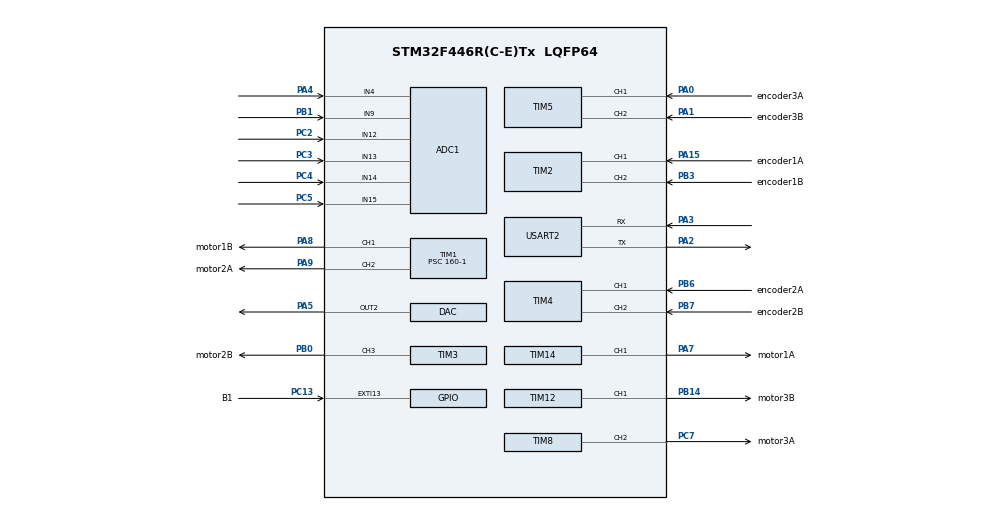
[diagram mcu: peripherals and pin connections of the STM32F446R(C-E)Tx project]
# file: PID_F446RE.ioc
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ADC1.Channel-0\#ChannelRegularConversion=ADC_CHANNEL_15
ADC1.Channel-1\#ChannelRegularConversion=ADC_CHANNEL_9
ADC1.Channel-2\#ChannelRegularConversion=ADC_CHANNEL_14
ADC1.Channel-3\#ChannelRegularConversion=ADC_CHANNEL_4
ADC1.Channel-4\#ChannelRegularConversion=ADC_CHANNEL_13
ADC1.Channel-5\#ChannelRegularConversion=ADC_CHANNEL_12
ADC1.ContinuousConvMode=DISABLE
ADC1.DiscontinuousConvMode=ENABLE
ADC1.NbrOfConversion=6
ADC1.NbrOfConversionFlag=1
ADC1.NbrOfDiscConversion=1
ADC1.Rank-0\#ChannelRegularConversion=1
ADC1.Rank-1\#ChannelRegularConversion=2
ADC1.Rank-2\#ChannelRegularConversion=3
ADC1.Rank-3\#ChannelRegularConversion=4
ADC1.Rank-4\#ChannelRegularConversion=5
ADC1.Rank-5\#ChannelRegularConversion=6
ADC1.SamplingTime-0\#ChannelRegularConversion=ADC_SAMPLETIME_3CYCLES
ADC1.SamplingTime-1\#ChannelRegularConversion=ADC_SAMPLETIME_3CYCLES
ADC1.SamplingTime-2\#ChannelRegularConversion=ADC_SAMPLETIME_3CYCLES
ADC1.SamplingTime-3\#ChannelRegularConversion=ADC_SAMPLETIME_3CYCLES
ADC1.SamplingTime-4\#ChannelRegularConversion=ADC_SAMPLETIME_3CYCLES
ADC1.SamplingTime-5\#ChannelRegularConversion=ADC_SAMPLETIME_3CYCLES
ADC1.ScanConvMode=ENABLE
ADC1.master=1
DAC.DAC_OutputBuffer2=DAC_OUTPUTBUFFER_DISABLE
Dma.Request0=USART2_RX
Dma.Request1=USART2_TX
Dma.USART2_RX.0.Direction=DMA_PERIPH_TO_MEMORY
Dma.USART2_RX.0.FIFOMode=DMA_FIFOMODE_DISABLE
Dma.USART2_RX.0.Instance=DMA1_Stream5
Dma.USART2_RX.0.MemDataAlignment=DMA_MDATAALIGN_BYTE
Dma.USART2_RX.0.MemInc=DMA_MINC_ENABLE
Dma.USART2_RX.0.Mode=DMA_NORMAL
Dma.USART2_RX.0.PeriphDataAlignment=DMA_PDATAALIGN_BYTE
Dma.USART2_RX.0.PeriphInc=DMA_PINC_DISABLE
Dma.USART2_RX.0.Priority=DMA_PRIORITY_LOW
Dma.USART2_TX.1.Direction=DMA_MEMORY_TO_PERIPH
Dma.USART2_TX.1.FIFOMode=DMA_FIFOMODE_DISABLE
Dma.USART2_TX.1.Instance=DMA1_Stream6
Dma.USART2_TX.1.MemDataAlignment=DMA_MDATAALIGN_BYTE
Dma.USART2_TX.1.MemInc=DMA_MINC_ENABLE
Dma.USART2_TX.1.Mode=DMA_NORMAL
Dma.USART2_TX.1.PeriphDataAlignment=DMA_PDATAALIGN_BYTE
Dma.USART2_TX.1.PeriphInc=DMA_PINC_DISABLE
Dma.USART2_TX.1.Priority=DMA_PRIORITY_LOW
Mcu.Family=STM32F4
Mcu.Name=STM32F446R(C-E)Tx
Mcu.Package=LQFP64
NVIC.DMA1_Stream5_IRQn=true\:0\:0\:false\:false\:true\:false\:true\:true
NVIC.DMA1_Stream6_IRQn=true\:0\:0\:false\:false\:true\:false\:true\:true
NVIC.EXTI15_10_IRQn=true\:0\:0\:false\:false\:true\:true\:true\:true
NVIC.PriorityGroup=NVIC_PRIORITYGROUP_4
NVIC.TIM2_IRQn=true\:1\:0\:true\:false\:true\:true\:true\:true
NVIC.TIM4_IRQn=true\:1\:0\:true\:false\:true\:true\:true\:true
NVIC.TIM5_IRQn=true\:1\:0\:true\:false\:true\:true\:true\:true
NVIC.TIM6_DAC_IRQn=true\:3\:0\:true\:false\:true\:true\:true\:true
NVIC.USART2_IRQn=true\:2\:0\:true\:false\:true\:true\:true\:true
PA0-WKUP.GPIO_Label=encoder3A
PA0-WKUP.Signal=S_TIM5_CH1
PA1.GPIO_Label=encoder3B
PA1.Signal=S_TIM5_CH2
PA15.GPIO_Label=encoder1A
PA15.Signal=S_TIM2_CH1_ETR
PA2.Mode=Asynchronous
PA2.Signal=USART2_TX
PA3.Mode=Asynchronous
PA3.Signal=USART2_RX
PA4.Signal=ADCx_IN4
PA5.Signal=COMP_DAC2_group
PA7.GPIO_Label=motor1A
PA7.Signal=S_TIM14_CH1
PA8.GPIO_Label=motor1B
PA8.Signal=S_TIM1_CH1
PA9.GPIO_Label=motor2A
PA9.Signal=S_TIM1_CH2
PB0.GPIO_Label=motor2B
PB0.Signal=S_TIM3_CH3
PB1.Signal=ADCx_IN9
PB14.GPIO_Label=motor3B
PB14.Signal=S_TIM12_CH1
PB3.GPIO_Label=encoder1B
PB3.Signal=S_TIM2_CH2
PB6.GPIO_Label=encoder2A
PB6.Signal=S_TIM4_CH1
PB7.GPIO_Label=encoder2B
PB7.Signal=S_TIM4_CH2
PC13.GPIO_Label=B1
PC13.Signal=GPXTI13
PC2.Signal=ADCx_IN12
PC3.Signal=ADCx_IN13
PC4.Signal=ADCx_IN14
PC5.Signal=ADCx_IN15
PC7.GPIO_Label=motor3A
PC7.Signal=S_TIM8_CH2
ProjectManager.HeapSize=0x200
ProjectManager.StackSize=0x400
ProjectManager.TargetToolchain=STM32CubeIDE
RCC.CortexFreq_Value=16000000
RCC.USBFreq_Value=96000000
RCC.VCOOutputFreq_Value=192000000
SH.ADCx_IN12.0=ADC1_IN12,IN12
SH.ADCx_IN13.0=ADC1_IN13,IN13
SH.ADCx_IN14.0=ADC1_IN14,IN14
SH.ADCx_IN15.0=ADC1_IN15,IN15
SH.ADCx_IN4.0=ADC1_IN4,IN4
SH.ADCx_IN9.0=ADC1_IN9,IN9
SH.COMP_DAC2_group.0=DAC_OUT2,DAC_OUT2
SH.S_TIM12_CH1.0=TIM12_CH1,PWM Generation1 CH1
SH.S_TIM14_CH1.0=TIM14_CH1,PWM Generation1 CH1
SH.S_TIM1_CH1.0=TIM1_CH1,PWM Generation1 CH1
SH.S_TIM1_CH2.0=TIM1_CH2,PWM Generation2 CH2
SH.S_TIM2_CH1_ETR.0=TIM2_CH1,Encoder_Interface
SH.S_TIM2_CH2.0=TIM2_CH2,Encoder_Interface
SH.S_TIM3_CH3.0=TIM3_CH3,PWM Generation3 CH3
SH.S_TIM4_CH1.0=TIM4_CH1,Encoder_Interface
SH.S_TIM4_CH2.0=TIM4_CH2,Encoder_Interface
SH.S_TIM5_CH1.0=TIM5_CH1,Encoder_Interface
SH.S_TIM5_CH2.0=TIM5_CH2,Encoder_Interface
SH.S_TIM8_CH2.0=TIM8_CH2,PWM Generation2 CH2
TIM1.AutoReloadPreload=TIM_AUTORELOAD_PRELOAD_ENABLE
TIM1.Channel-PWM\ Generation1\ CH1=TIM_CHANNEL_1
TIM1.Channel-PWM\ Generation2\ CH2=TIM_CHANNEL_2
TIM1.Period=1000-1
TIM1.Prescaler=160-1
TIM12.AutoReloadPreload=TIM_AUTORELOAD_PRELOAD_ENABLE
TIM12.Channel-PWM\ Generation1\ CH1=TIM_CHANNEL_1
TIM12.Period=1000-1
TIM12.Prescaler=16-1
TIM14.AutoReloadPreload=TIM_AUTORELOAD_PRELOAD_ENABLE
TIM14.Channel=TIM_CHANNEL_1
TIM14.Period=1000-1
TIM14.Prescaler=16-1
TIM2.AutoReloadPreload=TIM_AUTORELOAD_PRELOAD_ENABLE
TIM2.EncoderMode=TIM_ENCODERMODE_TI12
TIM3.AutoReloadPreload=TIM_AUTORELOAD_PRELOAD_ENABLE
TIM3.Channel-PWM\ Generation3\ CH3=TIM_CHANNEL_3
TIM3.Period=1000-1
TIM3.Prescaler=16-1
TIM4.AutoReloadPreload=TIM_AUTORELOAD_PRELOAD_ENABLE
TIM4.EncoderMode=TIM_ENCODERMODE_TI12
TIM5.AutoReloadPreload=TIM_AUTORELOAD_PRELOAD_ENABLE
TIM5.EncoderMode=TIM_ENCODERMODE_TI12
TIM6.Period=1000-1
TIM6.Prescaler=160-1
TIM8.AutoReloadPreload=TIM_AUTORELOAD_PRELOAD_ENABLE
TIM8.Channel-PWM\ Generation2\ CH2=TIM_CHANNEL_2
TIM8.Period=1000-1
TIM8.Prescaler=16-1
USART2.VirtualMode=VM_ASYNC
VP_TIM14_VS_ClockSourceINT.Mode=Enable_Timer
VP_TIM6_VS_ClockSourceINT.Mode=Enable_Timer
board=custom

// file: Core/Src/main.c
/* USER CODE BEGIN Header */
/**
  ******************************************************************************
  * @file           : main.c
  * @brief          : Main program body
  ******************************************************************************
  * @attention
  *
  * Copyright (c) 2023 STMicroelectronics.
  * All rights reserved.
  *
  * This software is licensed under terms that can be found in the LICENSE file
  * in the root directory of this software component.
  * If no LICENSE file comes with this software, it is provided AS-IS.
  *
  ******************************************************************************
  */
/* USER CODE END Header */
#include "main.h"

/* USER CODE BEGIN Includes */
#include "string.h"
#include "stdio.h"
#include "stdlib.h"
/* USER CODE END Includes */

/* USER CODE BEGIN PTD */
typedef struct _MOTOR
{
	uint32_t Target;	// from FSR input
	short Speed;	// calculated from encoder
	uint16_t direc;
}MOTOR;
/* USER CODE END PTD */

/* USER CODE BEGIN PD */
/*PID*/
#define kp 0.86
#define ki 0.012
#define kd 0.005

#define RESET 0
#define CW_A 1
#define CCW_B 2

#define motor1A TIM1 -> CCR1
#define motor1B TIM14 -> CCR1
#define encoderM1 TIM2 -> CNT

#define motor2A TIM1 -> CCR2
#define motor2B TIM3 -> CCR3
#define encoderM2 TIM4 -> CNT

#define motor3A TIM8 -> CCR2
#define motor3B TIM12 -> CCR1
#define encoderM3 TIM5 -> CNT

/* USER CODE END PD */

ADC_HandleTypeDef hadc1;

DAC_HandleTypeDef hdac;

TIM_HandleTypeDef htim1;
TIM_HandleTypeDef htim2;
TIM_HandleTypeDef htim3;
TIM_HandleTypeDef htim4;
TIM_HandleTypeDef htim5;
TIM_HandleTypeDef htim6;
TIM_HandleTypeDef htim8;
TIM_HandleTypeDef htim12;
TIM_HandleTypeDef htim14;

UART_HandleTypeDef huart2;
DMA_HandleTypeDef hdma_usart2_rx;
DMA_HandleTypeDef hdma_usart2_tx;

void SystemClock_Config(void);
static void MX_GPIO_Init(void);
static void MX_DMA_Init(void);
static void MX_TIM6_Init(void);
static void MX_TIM14_Init(void);
static void MX_TIM2_Init(void);
static void MX_USART2_UART_Init(void);
static void MX_ADC1_Init(void);
static void MX_TIM1_Init(void);
static void MX_TIM3_Init(void);
static void MX_TIM4_Init(void);
static void MX_TIM5_Init(void);
static void MX_TIM8_Init(void);
static void MX_TIM12_Init(void);
static void MX_DAC_Init(void);

/* USER CODE BEGIN 0 */

// global signal
uint16_t FSRThreshold = 200;
uint16_t curMotorNum = 0;
uint16_t encoderRead_flag = 0;

// motor data
MOTOR motor[4];
uint16_t PID_FLAG = 0;

// ADC usage
uint16_t FSRValue[6];

void initMotor(void){
	// motor 1
	for(int i = 1;i <= 3; i++){
		motor[i].Speed = 0;
		motor[i].Target = 0;
		motor[i].direc = 0;
	}

	motor1A = 0;
	motor1B = 0;
	motor2A = 0;
	motor2B = 0;
	motor3A = 0;
	motor3B = 0;

	HAL_TIM_Encoder_Start(&htim2,TIM_CHANNEL_1 | TIM_CHANNEL_2);	// start encoderM1(timer2)
	HAL_TIM_PWM_Start(&htim1,TIM_CHANNEL_1);	// start motor1A
	HAL_TIM_PWM_Start(&htim14,TIM_CHANNEL_1);	// start motor1B
	HAL_TIM_Encoder_Start(&htim4,TIM_CHANNEL_1 | TIM_CHANNEL_2);	// start encoderM2(timer4)
	HAL_TIM_PWM_Start(&htim1,TIM_CHANNEL_2);	// start motor2A
	HAL_TIM_PWM_Start(&htim3,TIM_CHANNEL_3);	// start motor2B
	HAL_TIM_Encoder_Start(&htim5,TIM_CHANNEL_1 | TIM_CHANNEL_2);	// start encoderM3(timer5)
	HAL_TIM_PWM_Start(&htim8,TIM_CHANNEL_2);	// start motor3A
	HAL_TIM_PWM_Start(&htim12,TIM_CHANNEL_1);	// start motor3B
}

void errorOccur(uint16_t type,uint16_t motorNum){
	char uart_buf[100];
	int uart_buf_len;
	switch(type){
	case 1:
		uart_buf_len = sprintf(uart_buf, "Can't read motor %d encoder value\r\n",motorNum);
		HAL_UART_Transmit(&huart2, (uint8_t *)uart_buf, uart_buf_len, 100);
		break;
	case 2:
		uart_buf_len = sprintf(uart_buf, "Can't config motor %d Speed\r\n",motorNum);
		HAL_UART_Transmit(&huart2, (uint8_t *)uart_buf, uart_buf_len, 100);
		break;
	}
}

// table for converting Speed by controller,to PWM pulse value
uint32_t speed2pulse(uint32_t rpm_value){
	uint32_t pulse_value = 1.7 * rpm_value + 27;
	return pulse_value;
}

// table for converting ADC voltage read from FSR,to speed(rpm)
uint32_t voltage2speed(uint32_t FSRvoltage){
	uint32_t Target_Speed = FSRvoltage/50 + 200;	// input speed = 0.1*FSR_value + 100
	return Target_Speed;
}

// get motor real speed (named as encoder value)
short getSpeed(uint16_t motor_num){
	short fspeed = 0;
	switch(motor_num){
	case 1:
		fspeed = (short)(encoderM1)*100/(16*4); // v = (Num/(CPR*F))/t
		encoderM1 = 0;
		return fspeed*10;
		break;
	case 2:
		fspeed = (short)(encoderM2)*100/(16*4); // v = (Num/(CPR*F))/t
		encoderM2 = 0;
		return fspeed*10;
		break;
	case 3:
		fspeed = (short)(encoderM3)*100/(16*4); // v = (Num/(CPR*F))/t
		encoderM3 = 0;
		return fspeed*10;
		break;
	case 0:
		break;
	default:
		errorOccur(1,motor_num);
		break;
	}
	return 0;
}

// ADC Conversion processing
void readFSRVoltage(void){
	for(int FSRNum = 0; FSRNum < 6; FSRNum ++){
       HAL_ADC_Start(&hadc1);
       HAL_ADC_PollForConversion(&hadc1,100);
       if(HAL_IS_BIT_SET(HAL_ADC_GetState(&hadc1),HAL_ADC_STATE_REG_EOC)){
    	   FSRValue[FSRNum] = (uint16_t)HAL_ADC_GetValue(&hadc1);
       }
	}
}

void setSpeed_M1(uint16_t ctrl) {
    switch (ctrl) {
        case RESET:
            motor1A = 0;
            motor1B = 0;
            break;

        case CW_A:
            motor1A = motor[1].Speed;
            break;

        case CCW_B:
            motor1B = motor[1].Speed;
            break;

        default:
            errorOccur(2, 1);
            break;
    }
}

void setSpeed_M2(uint16_t ctrl) {
    switch (ctrl) {
        case RESET:
            motor2A = 0;
            motor2B = 0;
            break;

        case CW_A:
            motor2A = motor[2].Speed;
            break;

        case CCW_B:
            motor2B = motor[2].Speed;
            break;

        default:
            errorOccur(2, 2);
            break;
    }
}

void setSpeed_M3(uint16_t ctrl) {
    switch (ctrl) {
        case RESET:
            motor3A = 0;
            motor3B = 0;
            break;

        case CW_A:
            motor3A = motor[3].Speed;
            break;

        case CCW_B:
            motor3B = motor[3].Speed;
            break;

        default:
            errorOccur(2, 3);
            break;
    }
}

void setSpeed(uint16_t motorNum,uint16_t ctrl){
	if(motorNum == 1) setSpeed_M1(ctrl);
	else if(motorNum == 2) setSpeed_M2(ctrl);
	else if(motorNum == 3) setSpeed_M3(ctrl);
}

void Dac2_Set_Vol(uint16_t vol)
{
	HAL_DAC_SetValue(&hdac, DAC_CHANNEL_2, DAC_ALIGN_12B_R, vol);
	HAL_DAC_Start(&hdac, DAC_CHANNEL_2);
}

short PID_Cal(short Speed,short *error)
{
	short Error = motor[curMotorNum].Target - Speed;
	static short Error_last = 0,Error_prev = 0;
	short pwm_add = 0;
	*error = Error;
//	pwm_add = kp*(Error - Error_last);
	pwm_add = kp*(Error - Error_last) + ki*Error + kd*(Error-2.0f*Error_last+Error_prev);

	Error_prev = Error_last;
	Error_last = Error;

	return pwm_add;
}
/* USER CODE END 0 */

int main(void)
{
  /* USER CODE BEGIN 1 */
	char uart_buf[100];
	int uart_buf_len;
	uint16_t idx = 0;
	uint16_t d = 0;

  /* USER CODE END 1 */

  /* MCU Configuration--------------------------------------------------------*/

  /* Reset of all peripherals, Initializes the Flash interface and the Systick. */
  HAL_Init();

  /* Configure the system clock */
  SystemClock_Config();

  /* Initialize all configured peripherals */
  MX_GPIO_Init();
  MX_DMA_Init();
  MX_TIM6_Init();
  MX_TIM14_Init();
  MX_TIM2_Init();
  MX_USART2_UART_Init();
  MX_ADC1_Init();
  MX_TIM1_Init();
  MX_TIM3_Init();
  MX_TIM4_Init();
  MX_TIM5_Init();
  MX_TIM8_Init();
  MX_TIM12_Init();
  MX_DAC_Init();
  /* USER CODE BEGIN 2 */
  uart_buf_len = sprintf(uart_buf, "Configuring...\r\n");
  HAL_UART_Transmit(&huart2, (uint8_t *)uart_buf, uart_buf_len, 100);
  initMotor();
  // Start timer
  HAL_TIM_Base_Start_IT(&htim6);
  uart_buf_len = sprintf(uart_buf, "Test Start!\r\n");
  HAL_UART_Transmit(&huart2, (uint8_t *)uart_buf, uart_buf_len, 100);

  /* USER CODE END 2 */

  /* Infinite loop */
  /* USER CODE BEGIN WHILE */
  while (1)
  {

	  if(encoderRead_flag){
		  uart_buf_len = sprintf(uart_buf, "Target Speed from FSR %lu, direct %d \r\n",motor[curMotorNum].Target,motor[curMotorNum].direc);
		  HAL_UART_Transmit(&huart2, (uint8_t *)uart_buf, uart_buf_len, 100);
		  uart_buf_len = sprintf(uart_buf, "actual Speed = %d\r\n",motor[curMotorNum].Speed);
		  HAL_UART_Transmit(&huart2, (uint8_t *)uart_buf, uart_buf_len, 100);
		  encoderRead_flag = 0;
	  }
	  readFSRVoltage();

	  if(curMotorNum == 0)	// Stationary state
	  {
		  for(int i = 0; i < 6; i++){
			  if(FSRValue[i] >= FSRThreshold){
				  idx = i;
				  d = (i%2)? 1 : 2;	// mod=1(1,3,5) for CW(direc code is 1); mod=0(0,2,4) for CCW(direc code is 2)
				  curMotorNum = (idx + 2) / 2; // 0&1 for motor1, 2&3 for motor2, 4&5 for motor3
				  setSpeed(curMotorNum,RESET);
				  motor[curMotorNum].direc = d;
				  break;
			  }
		  }
	  }
	  if(curMotorNum != 0) // motor{curMotorNum} functioning
	  {
		  if(FSRValue[idx] >= FSRThreshold){
			  motor[curMotorNum].Target = voltage2speed(FSRValue[idx]);
			  uart_buf_len = sprintf(uart_buf, "FSR voltage = %d change to speed = %d\r\n",FSRValue[idx],motor[curMotorNum].Target);
			  HAL_UART_Transmit(&huart2, (uint8_t *)uart_buf, uart_buf_len, 100);
		  }else{	// stop functioning
			  motor[curMotorNum].Target = 0;
			  motor[curMotorNum].direc = 0;
			  setSpeed(curMotorNum,RESET);
			  curMotorNum = 0;
		  }

	  }
	  for(int FSRNum = 0; FSRNum < 6; FSRNum ++){
		  uart_buf_len = sprintf(uart_buf, "idx[%d] value[%d]\r\n",FSRNum,FSRValue[FSRNum]);
		  HAL_UART_Transmit(&huart2, (uint8_t *)uart_buf, uart_buf_len, 100);
	  }
	  uart_buf_len = sprintf(uart_buf, "CURRENT MOTOR IS [%d]\r\n",curMotorNum);
	  HAL_UART_Transmit(&huart2, (uint8_t *)uart_buf, uart_buf_len, 100);
	  HAL_Delay(1000);

    /* USER CODE END WHILE */

  }
}

void SystemClock_Config(void)
{
  RCC_OscInitTypeDef RCC_OscInitStruct = {0};
  RCC_ClkInitTypeDef RCC_ClkInitStruct = {0};

  /** Configure the main internal regulator output voltage
  */
  __HAL_RCC_PWR_CLK_ENABLE();
  __HAL_PWR_VOLTAGESCALING_CONFIG(PWR_REGULATOR_VOLTAGE_SCALE3);

  /** Initializes the RCC Oscillators according to the specified parameters
  * in the RCC_OscInitTypeDef structure.
  */
  RCC_OscInitStruct.OscillatorType = RCC_OSCILLATORTYPE_HSI;
  RCC_OscInitStruct.HSIState = RCC_HSI_ON;
  RCC_OscInitStruct.HSICalibrationValue = RCC_HSICALIBRATION_DEFAULT;
  RCC_OscInitStruct.PLL.PLLState = RCC_PLL_NONE;
  if (HAL_RCC_OscConfig(&RCC_OscInitStruct) != HAL_OK)
  {
    Error_Handler();
  }

  /** Initializes the CPU, AHB and APB buses clocks
  */
  RCC_ClkInitStruct.ClockType = RCC_CLOCKTYPE_HCLK|RCC_CLOCKTYPE_SYSCLK
                              |RCC_CLOCKTYPE_PCLK1|RCC_CLOCKTYPE_PCLK2;
  RCC_ClkInitStruct.SYSCLKSource = RCC_SYSCLKSOURCE_HSI;
  RCC_ClkInitStruct.AHBCLKDivider = RCC_SYSCLK_DIV1;
  RCC_ClkInitStruct.APB1CLKDivider = RCC_HCLK_DIV1;
  RCC_ClkInitStruct.APB2CLKDivider = RCC_HCLK_DIV1;

  if (HAL_RCC_ClockConfig(&RCC_ClkInitStruct, FLASH_LATENCY_0) != HAL_OK)
  {
    Error_Handler();
  }
}

static void MX_ADC1_Init(void)
{

  ADC_ChannelConfTypeDef sConfig = {0};

  /** Configure the global features of the ADC (Clock, Resolution, Data Alignment and number of conversion)
  */
  hadc1.Instance = ADC1;
  hadc1.Init.ClockPrescaler = ADC_CLOCK_SYNC_PCLK_DIV2;
  hadc1.Init.Resolution = ADC_RESOLUTION_12B;
  hadc1.Init.ScanConvMode = ENABLE;
  hadc1.Init.ContinuousConvMode = DISABLE;
  hadc1.Init.DiscontinuousConvMode = ENABLE;
  hadc1.Init.NbrOfDiscConversion = 1;
  hadc1.Init.ExternalTrigConvEdge = ADC_EXTERNALTRIGCONVEDGE_NONE;
  hadc1.Init.ExternalTrigConv = ADC_SOFTWARE_START;
  hadc1.Init.DataAlign = ADC_DATAALIGN_RIGHT;
  hadc1.Init.NbrOfConversion = 6;
  hadc1.Init.DMAContinuousRequests = DISABLE;
  hadc1.Init.EOCSelection = ADC_EOC_SINGLE_CONV;
  if (HAL_ADC_Init(&hadc1) != HAL_OK)
  {
    Error_Handler();
  }

  /** Configure for the selected ADC regular channel its corresponding rank in the sequencer and its sample time.
  */
  sConfig.Channel = ADC_CHANNEL_15;
  sConfig.Rank = 1;
  sConfig.SamplingTime = ADC_SAMPLETIME_3CYCLES;
  if (HAL_ADC_ConfigChannel(&hadc1, &sConfig) != HAL_OK)
  {
    Error_Handler();
  }

  /** Configure for the selected ADC regular channel its corresponding rank in the sequencer and its sample time.
  */
  sConfig.Channel = ADC_CHANNEL_9;
  sConfig.Rank = 2;
  if (HAL_ADC_ConfigChannel(&hadc1, &sConfig) != HAL_OK)
  {
    Error_Handler();
  }

  /** Configure for the selected ADC regular channel its corresponding rank in the sequencer and its sample time.
  */
  sConfig.Channel = ADC_CHANNEL_14;
  sConfig.Rank = 3;
  if (HAL_ADC_ConfigChannel(&hadc1, &sConfig) != HAL_OK)
  {
    Error_Handler();
  }

  /** Configure for the selected ADC regular channel its corresponding rank in the sequencer and its sample time.
  */
  sConfig.Channel = ADC_CHANNEL_4;
  sConfig.Rank = 4;
  if (HAL_ADC_ConfigChannel(&hadc1, &sConfig) != HAL_OK)
  {
    Error_Handler();
  }

  /** Configure for the selected ADC regular channel its corresponding rank in the sequencer and its sample time.
  */
  sConfig.Channel = ADC_CHANNEL_13;
  sConfig.Rank = 5;
  if (HAL_ADC_ConfigChannel(&hadc1, &sConfig) != HAL_OK)
  {
    Error_Handler();
  }

  /** Configure for the selected ADC regular channel its corresponding rank in the sequencer and its sample time.
  */
  sConfig.Channel = ADC_CHANNEL_12;
  sConfig.Rank = 6;
  if (HAL_ADC_ConfigChannel(&hadc1, &sConfig) != HAL_OK)
  {
    Error_Handler();
  }

}

static void MX_DAC_Init(void)
{

  DAC_ChannelConfTypeDef sConfig = {0};

  /** DAC Initialization
  */
  hdac.Instance = DAC;
  if (HAL_DAC_Init(&hdac) != HAL_OK)
  {
    Error_Handler();
  }

  /** DAC channel OUT2 config
  */
  sConfig.DAC_Trigger = DAC_TRIGGER_NONE;
  sConfig.DAC_OutputBuffer = DAC_OUTPUTBUFFER_DISABLE;
  if (HAL_DAC_ConfigChannel(&hdac, &sConfig, DAC_CHANNEL_2) != HAL_OK)
  {
    Error_Handler();
  }

}

static void MX_TIM1_Init(void)
{

  TIM_MasterConfigTypeDef sMasterConfig = {0};
  TIM_OC_InitTypeDef sConfigOC = {0};
  TIM_BreakDeadTimeConfigTypeDef sBreakDeadTimeConfig = {0};

  htim1.Instance = TIM1;
  htim1.Init.Prescaler = 160-1;
  htim1.Init.CounterMode = TIM_COUNTERMODE_UP;
  htim1.Init.Period = 1000-1;
  htim1.Init.ClockDivision = TIM_CLOCKDIVISION_DIV1;
  htim1.Init.RepetitionCounter = 0;
  htim1.Init.AutoReloadPreload = TIM_AUTORELOAD_PRELOAD_ENABLE;
  if (HAL_TIM_PWM_Init(&htim1) != HAL_OK)
  {
    Error_Handler();
  }
  sMasterConfig.MasterOutputTrigger = TIM_TRGO_RESET;
  sMasterConfig.MasterSlaveMode = TIM_MASTERSLAVEMODE_DISABLE;
  if (HAL_TIMEx_MasterConfigSynchronization(&htim1, &sMasterConfig) != HAL_OK)
  {
    Error_Handler();
  }
  sConfigOC.OCMode = TIM_OCMODE_PWM1;
  sConfigOC.Pulse = 0;
  sConfigOC.OCPolarity = TIM_OCPOLARITY_HIGH;
  sConfigOC.OCNPolarity = TIM_OCNPOLARITY_HIGH;
  sConfigOC.OCFastMode = TIM_OCFAST_DISABLE;
  sConfigOC.OCIdleState = TIM_OCIDLESTATE_RESET;
  sConfigOC.OCNIdleState = TIM_OCNIDLESTATE_RESET;
  if (HAL_TIM_PWM_ConfigChannel(&htim1, &sConfigOC, TIM_CHANNEL_1) != HAL_OK)
  {
    Error_Handler();
  }
  if (HAL_TIM_PWM_ConfigChannel(&htim1, &sConfigOC, TIM_CHANNEL_2) != HAL_OK)
  {
    Error_Handler();
  }
  sBreakDeadTimeConfig.OffStateRunMode = TIM_OSSR_DISABLE;
  sBreakDeadTimeConfig.OffStateIDLEMode = TIM_OSSI_DISABLE;
  sBreakDeadTimeConfig.LockLevel = TIM_LOCKLEVEL_OFF;
  sBreakDeadTimeConfig.DeadTime = 0;
  sBreakDeadTimeConfig.BreakState = TIM_BREAK_DISABLE;
  sBreakDeadTimeConfig.BreakPolarity = TIM_BREAKPOLARITY_HIGH;
  sBreakDeadTimeConfig.AutomaticOutput = TIM_AUTOMATICOUTPUT_DISABLE;
  if (HAL_TIMEx_ConfigBreakDeadTime(&htim1, &sBreakDeadTimeConfig) != HAL_OK)
  {
    Error_Handler();
  }
  HAL_TIM_MspPostInit(&htim1);

}

static void MX_TIM2_Init(void)
{

  TIM_Encoder_InitTypeDef sConfig = {0};
  TIM_MasterConfigTypeDef sMasterConfig = {0};

  htim2.Instance = TIM2;
  htim2.Init.Prescaler = 0;
  htim2.Init.CounterMode = TIM_COUNTERMODE_UP;
  htim2.Init.Period = 4294967295;
  htim2.Init.ClockDivision = TIM_CLOCKDIVISION_DIV1;
  htim2.Init.AutoReloadPreload = TIM_AUTORELOAD_PRELOAD_ENABLE;
  sConfig.EncoderMode = TIM_ENCODERMODE_TI12;
  sConfig.IC1Polarity = TIM_ICPOLARITY_RISING;
  sConfig.IC1Selection = TIM_ICSELECTION_DIRECTTI;
  sConfig.IC1Prescaler = TIM_ICPSC_DIV1;
  sConfig.IC1Filter = 0;
  sConfig.IC2Polarity = TIM_ICPOLARITY_RISING;
  sConfig.IC2Selection = TIM_ICSELECTION_DIRECTTI;
  sConfig.IC2Prescaler = TIM_ICPSC_DIV1;
  sConfig.IC2Filter = 0;
  if (HAL_TIM_Encoder_Init(&htim2, &sConfig) != HAL_OK)
  {
    Error_Handler();
  }
  sMasterConfig.MasterOutputTrigger = TIM_TRGO_RESET;
  sMasterConfig.MasterSlaveMode = TIM_MASTERSLAVEMODE_DISABLE;
  if (HAL_TIMEx_MasterConfigSynchronization(&htim2, &sMasterConfig) != HAL_OK)
  {
    Error_Handler();
  }

}

static void MX_TIM3_Init(void)
{

  TIM_MasterConfigTypeDef sMasterConfig = {0};
  TIM_OC_InitTypeDef sConfigOC = {0};

  htim3.Instance = TIM3;
  htim3.Init.Prescaler = 16-1;
  htim3.Init.CounterMode = TIM_COUNTERMODE_UP;
  htim3.Init.Period = 1000-1;
  htim3.Init.ClockDivision = TIM_CLOCKDIVISION_DIV1;
  htim3.Init.AutoReloadPreload = TIM_AUTORELOAD_PRELOAD_ENABLE;
  if (HAL_TIM_PWM_Init(&htim3) != HAL_OK)
  {
    Error_Handler();
  }
  sMasterConfig.MasterOutputTrigger = TIM_TRGO_RESET;
  sMasterConfig.MasterSlaveMode = TIM_MASTERSLAVEMODE_DISABLE;
  if (HAL_TIMEx_MasterConfigSynchronization(&htim3, &sMasterConfig) != HAL_OK)
  {
    Error_Handler();
  }
  sConfigOC.OCMode = TIM_OCMODE_PWM1;
  sConfigOC.Pulse = 0;
  sConfigOC.OCPolarity = TIM_OCPOLARITY_HIGH;
  sConfigOC.OCFastMode = TIM_OCFAST_DISABLE;
  if (HAL_TIM_PWM_ConfigChannel(&htim3, &sConfigOC, TIM_CHANNEL_3) != HAL_OK)
  {
    Error_Handler();
  }
  HAL_TIM_MspPostInit(&htim3);

}

static void MX_TIM4_Init(void)
{

  TIM_Encoder_InitTypeDef sConfig = {0};
  TIM_MasterConfigTypeDef sMasterConfig = {0};

  htim4.Instance = TIM4;
  htim4.Init.Prescaler = 0;
  htim4.Init.CounterMode = TIM_COUNTERMODE_UP;
  htim4.Init.Period = 65535;
  htim4.Init.ClockDivision = TIM_CLOCKDIVISION_DIV1;
  htim4.Init.AutoReloadPreload = TIM_AUTORELOAD_PRELOAD_ENABLE;
  sConfig.EncoderMode = TIM_ENCODERMODE_TI12;
  sConfig.IC1Polarity = TIM_ICPOLARITY_RISING;
  sConfig.IC1Selection = TIM_ICSELECTION_DIRECTTI;
  sConfig.IC1Prescaler = TIM_ICPSC_DIV1;
  sConfig.IC1Filter = 0;
  sConfig.IC2Polarity = TIM_ICPOLARITY_RISING;
  sConfig.IC2Selection = TIM_ICSELECTION_DIRECTTI;
  sConfig.IC2Prescaler = TIM_ICPSC_DIV1;
  sConfig.IC2Filter = 0;
  if (HAL_TIM_Encoder_Init(&htim4, &sConfig) != HAL_OK)
  {
    Error_Handler();
  }
  sMasterConfig.MasterOutputTrigger = TIM_TRGO_RESET;
  sMasterConfig.MasterSlaveMode = TIM_MASTERSLAVEMODE_DISABLE;
  if (HAL_TIMEx_MasterConfigSynchronization(&htim4, &sMasterConfig) != HAL_OK)
  {
    Error_Handler();
  }

}

static void MX_TIM5_Init(void)
{

  TIM_Encoder_InitTypeDef sConfig = {0};
  TIM_MasterConfigTypeDef sMasterConfig = {0};

  htim5.Instance = TIM5;
  htim5.Init.Prescaler = 0;
  htim5.Init.CounterMode = TIM_COUNTERMODE_UP;
  htim5.Init.Period = 4294967295;
  htim5.Init.ClockDivision = TIM_CLOCKDIVISION_DIV1;
  htim5.Init.AutoReloadPreload = TIM_AUTORELOAD_PRELOAD_ENABLE;
  sConfig.EncoderMode = TIM_ENCODERMODE_TI12;
  sConfig.IC1Polarity = TIM_ICPOLARITY_RISING;
  sConfig.IC1Selection = TIM_ICSELECTION_DIRECTTI;
  sConfig.IC1Prescaler = TIM_ICPSC_DIV1;
  sConfig.IC1Filter = 0;
  sConfig.IC2Polarity = TIM_ICPOLARITY_RISING;
  sConfig.IC2Selection = TIM_ICSELECTION_DIRECTTI;
  sConfig.IC2Prescaler = TIM_ICPSC_DIV1;
  sConfig.IC2Filter = 0;
  if (HAL_TIM_Encoder_Init(&htim5, &sConfig) != HAL_OK)
  {
    Error_Handler();
  }
  sMasterConfig.MasterOutputTrigger = TIM_TRGO_RESET;
  sMasterConfig.MasterSlaveMode = TIM_MASTERSLAVEMODE_DISABLE;
  if (HAL_TIMEx_MasterConfigSynchronization(&htim5, &sMasterConfig) != HAL_OK)
  {
    Error_Handler();
  }

}

static void MX_TIM6_Init(void)
{

  TIM_MasterConfigTypeDef sMasterConfig = {0};

  htim6.Instance = TIM6;
  htim6.Init.Prescaler = 160-1;
  htim6.Init.CounterMode = TIM_COUNTERMODE_UP;
  htim6.Init.Period = 1000-1;
  htim6.Init.AutoReloadPreload = TIM_AUTORELOAD_PRELOAD_DISABLE;
  if (HAL_TIM_Base_Init(&htim6) != HAL_OK)
  {
    Error_Handler();
  }
  sMasterConfig.MasterOutputTrigger = TIM_TRGO_RESET;
  sMasterConfig.MasterSlaveMode = TIM_MASTERSLAVEMODE_DISABLE;
  if (HAL_TIMEx_MasterConfigSynchronization(&htim6, &sMasterConfig) != HAL_OK)
  {
    Error_Handler();
  }

}

static void MX_TIM8_Init(void)
{

  TIM_MasterConfigTypeDef sMasterConfig = {0};
  TIM_OC_InitTypeDef sConfigOC = {0};
  TIM_BreakDeadTimeConfigTypeDef sBreakDeadTimeConfig = {0};

  htim8.Instance = TIM8;
  htim8.Init.Prescaler = 16-1;
  htim8.Init.CounterMode = TIM_COUNTERMODE_UP;
  htim8.Init.Period = 1000-1;
  htim8.Init.ClockDivision = TIM_CLOCKDIVISION_DIV1;
  htim8.Init.RepetitionCounter = 0;
  htim8.Init.AutoReloadPreload = TIM_AUTORELOAD_PRELOAD_ENABLE;
  if (HAL_TIM_PWM_Init(&htim8) != HAL_OK)
  {
    Error_Handler();
  }
  sMasterConfig.MasterOutputTrigger = TIM_TRGO_RESET;
  sMasterConfig.MasterSlaveMode = TIM_MASTERSLAVEMODE_DISABLE;
  if (HAL_TIMEx_MasterConfigSynchronization(&htim8, &sMasterConfig) != HAL_OK)
  {
    Error_Handler();
  }
  sConfigOC.OCMode = TIM_OCMODE_PWM1;
  sConfigOC.Pulse = 0;
  sConfigOC.OCPolarity = TIM_OCPOLARITY_HIGH;
  sConfigOC.OCNPolarity = TIM_OCNPOLARITY_HIGH;
  sConfigOC.OCFastMode = TIM_OCFAST_DISABLE;
  sConfigOC.OCIdleState = TIM_OCIDLESTATE_RESET;
  sConfigOC.OCNIdleState = TIM_OCNIDLESTATE_RESET;
  if (HAL_TIM_PWM_ConfigChannel(&htim8, &sConfigOC, TIM_CHANNEL_2) != HAL_OK)
  {
    Error_Handler();
  }
  sBreakDeadTimeConfig.OffStateRunMode = TIM_OSSR_DISABLE;
  sBreakDeadTimeConfig.OffStateIDLEMode = TIM_OSSI_DISABLE;
  sBreakDeadTimeConfig.LockLevel = TIM_LOCKLEVEL_OFF;
  sBreakDeadTimeConfig.DeadTime = 0;
  sBreakDeadTimeConfig.BreakState = TIM_BREAK_DISABLE;
  sBreakDeadTimeConfig.BreakPolarity = TIM_BREAKPOLARITY_HIGH;
  sBreakDeadTimeConfig.AutomaticOutput = TIM_AUTOMATICOUTPUT_DISABLE;
  if (HAL_TIMEx_ConfigBreakDeadTime(&htim8, &sBreakDeadTimeConfig) != HAL_OK)
  {
    Error_Handler();
  }
  HAL_TIM_MspPostInit(&htim8);

}

static void MX_TIM12_Init(void)
{

  TIM_OC_InitTypeDef sConfigOC = {0};

  htim12.Instance = TIM12;
  htim12.Init.Prescaler = 16-1;
  htim12.Init.CounterMode = TIM_COUNTERMODE_UP;
  htim12.Init.Period = 1000-1;
  htim12.Init.ClockDivision = TIM_CLOCKDIVISION_DIV1;
  htim12.Init.AutoReloadPreload = TIM_AUTORELOAD_PRELOAD_ENABLE;
  if (HAL_TIM_PWM_Init(&htim12) != HAL_OK)
  {
    Error_Handler();
  }
  sConfigOC.OCMode = TIM_OCMODE_PWM1;
  sConfigOC.Pulse = 0;
  sConfigOC.OCPolarity = TIM_OCPOLARITY_HIGH;
  sConfigOC.OCFastMode = TIM_OCFAST_DISABLE;
  if (HAL_TIM_PWM_ConfigChannel(&htim12, &sConfigOC, TIM_CHANNEL_1) != HAL_OK)
  {
    Error_Handler();
  }
  HAL_TIM_MspPostInit(&htim12);

}

static void MX_TIM14_Init(void)
{

  TIM_OC_InitTypeDef sConfigOC = {0};

  htim14.Instance = TIM14;
  htim14.Init.Prescaler = 16-1;
  htim14.Init.CounterMode = TIM_COUNTERMODE_UP;
  htim14.Init.Period = 1000-1;
  htim14.Init.ClockDivision = TIM_CLOCKDIVISION_DIV1;
  htim14.Init.AutoReloadPreload = TIM_AUTORELOAD_PRELOAD_ENABLE;
  if (HAL_TIM_Base_Init(&htim14) != HAL_OK)
  {
    Error_Handler();
  }
  if (HAL_TIM_PWM_Init(&htim14) != HAL_OK)
  {
    Error_Handler();
  }
  sConfigOC.OCMode = TIM_OCMODE_PWM1;
  sConfigOC.Pulse = 0;
  sConfigOC.OCPolarity = TIM_OCPOLARITY_HIGH;
  sConfigOC.OCFastMode = TIM_OCFAST_DISABLE;
  if (HAL_TIM_PWM_ConfigChannel(&htim14, &sConfigOC, TIM_CHANNEL_1) != HAL_OK)
  {
    Error_Handler();
  }
  HAL_TIM_MspPostInit(&htim14);

}

static void MX_USART2_UART_Init(void)
{

  huart2.Instance = USART2;
  huart2.Init.BaudRate = 115200;
  huart2.Init.WordLength = UART_WORDLENGTH_8B;
  huart2.Init.StopBits = UART_STOPBITS_1;
  huart2.Init.Parity = UART_PARITY_NONE;
  huart2.Init.Mode = UART_MODE_TX_RX;
  huart2.Init.HwFlowCtl = UART_HWCONTROL_NONE;
  huart2.Init.OverSampling = UART_OVERSAMPLING_16;
  if (HAL_UART_Init(&huart2) != HAL_OK)
  {
    Error_Handler();
  }

}

static void MX_DMA_Init(void)
{

  /* DMA controller clock enable */
  __HAL_RCC_DMA1_CLK_ENABLE();

  /* DMA interrupt init */
  /* DMA1_Stream5_IRQn interrupt configuration */
  HAL_NVIC_SetPriority(DMA1_Stream5_IRQn, 0, 0);
  HAL_NVIC_EnableIRQ(DMA1_Stream5_IRQn);
  /* DMA1_Stream6_IRQn interrupt configuration */
  HAL_NVIC_SetPriority(DMA1_Stream6_IRQn, 0, 0);
  HAL_NVIC_EnableIRQ(DMA1_Stream6_IRQn);

}

static void MX_GPIO_Init(void)
{
  GPIO_InitTypeDef GPIO_InitStruct = {0};

  /* GPIO Ports Clock Enable */
  __HAL_RCC_GPIOC_CLK_ENABLE();
  __HAL_RCC_GPIOA_CLK_ENABLE();
  __HAL_RCC_GPIOB_CLK_ENABLE();

  /*Configure GPIO pin : B1_Pin */
  GPIO_InitStruct.Pin = B1_Pin;
  GPIO_InitStruct.Mode = GPIO_MODE_IT_RISING;
  GPIO_InitStruct.Pull = GPIO_NOPULL;
  HAL_GPIO_Init(B1_GPIO_Port, &GPIO_InitStruct);

  /* EXTI interrupt init*/
  HAL_NVIC_SetPriority(EXTI15_10_IRQn, 0, 0);
  HAL_NVIC_EnableIRQ(EXTI15_10_IRQn);

}

/* USER CODE BEGIN 4 */
void HAL_GPIO_EXTI_Callback(uint16_t GPIO_Pin)
{
  if(GPIO_Pin == B1_Pin) {	// blue button interrupt
	PID_FLAG = 1 - PID_FLAG;
  } else {
      __NOP();
  }
}

void HAL_TIM_PeriodElapsedCallback(TIM_HandleTypeDef *htim)
{
	short fspeed = 0;
	short ERROR;
	static uint8_t i = 0;
	if (htim == &htim6)	// basic clock, 100Hz(10ms)
	{
		// motor 1 encoder value
		fspeed = (short)getSpeed(curMotorNum);	// get motor 1 current speed from motor1's encoder
		Dac2_Set_Vol(abs(fspeed*6));	// for PID control visualization at PA5
		if(PID_FLAG){
			motor[curMotorNum].Speed += PID_Cal(fspeed,&ERROR);	// PID configure new speed for motor 1

			if(motor[curMotorNum].Speed > 1000) motor[curMotorNum].Speed = 1000;
			else if(motor[curMotorNum].Speed < 1 )motor[curMotorNum].Speed = 1;
			setSpeed(curMotorNum,motor[curMotorNum].direc);
		}

		i++;
		if(i >= 100)	// every 10 msec *100=1 sec
		{
			i = 0;
			encoderRead_flag = 1;
		}
	}
	if(htim == &htim2){
		// motor1 encoder counting
	}
	if(htim == &htim4){
		// motor2 encoder counting
	}
	if(htim == &htim5){
		// motor3 encoder counting
	}
}
/* USER CODE END 4 */

void Error_Handler(void)
{
  __disable_irq();
  while (1)
  {
  }
}
